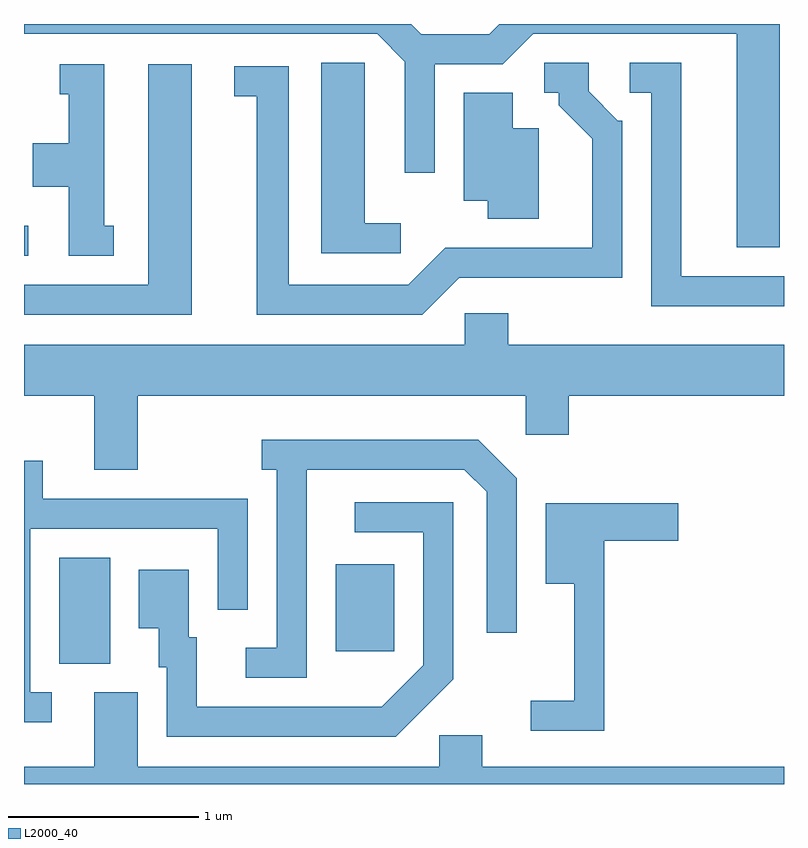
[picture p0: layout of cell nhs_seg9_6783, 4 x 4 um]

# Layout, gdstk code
import gdstk
lib = gdstk.Library(unit=1e-6, precision=1e-09)
def R(c, l, rs):  # rectangles x0, y0, x1, y1
    for r in rs: c.add(gdstk.rectangle(r[:2], r[2:], *l))
def P(c, l, *ps):  # polygons
    for p in ps: c.add(gdstk.Polygon(p, *l))
L2000_40 = (2000, 40)

nhs_seg9_6783 = lib.new_cell('nhs_seg9_6783')
R(nhs_seg9_6783, L2000_40, [(385.796,1997.066,386.064,1997.624), (387.251,1997.131,387.559,1997.589), (385.611,1999.211,385.633,1999.369)])
P(nhs_seg9_6783, L2000_40, [(389.589,2000.432),(388.112,2000.432),(388.059,2000.379),(387.702,2000.379),(387.649,2000.432),(385.611,2000.432),(385.611,2000.381),(387.469,2000.381),(387.616,2000.234),(387.616,1999.648),(387.774,1999.648),(387.774,2000.221),(388.132,2000.221),(388.292,2000.381),(389.361,2000.381),(389.361,1999.256),(389.589,1999.256)],
  [(389.611,1999.104),(389.069,1999.104),(389.069,2000.229),(388.798,2000.229),(388.798,2000.071),(388.911,2000.071),(388.911,1998.946),(389.611,1998.946)],
  [(387.593,1999.384),(387.404,1999.384),(387.404,2000.229),(387.176,2000.229),(387.176,1999.226),(387.593,1999.226)],
  [(387.902,1999.096),(388.759,1999.096),(388.759,1999.924),(388.737,1999.924),(388.584,2000.077),(388.584,2000.229),(388.348,2000.229),(388.348,2000.071),(388.426,2000.071),(388.426,2000.004),(388.601,1999.829),(388.601,1999.254),(387.829,1999.254),(387.634,1999.059),(387.004,1999.059),(387.004,2000.209),(386.718,2000.209),(386.718,2000.051),(386.836,2000.051),(386.836,1998.901),(387.707,1998.901)],
  [(386.494,2000.219),(386.266,2000.219),(386.266,1999.059),(385.611,1999.059),(385.611,1998.901),(386.494,1998.901)],
  [(386.083,1999.369),(386.034,1999.369),(386.034,2000.219),(385.798,2000.219),(385.798,2000.061),(385.846,2000.061),(385.846,1999.804),(385.656,1999.804),(385.656,1999.576),(385.846,1999.576),(385.846,1999.211),(386.083,1999.211)],
  [(388.319,1999.884),(388.184,1999.884),(388.184,2000.069),(387.926,2000.069),(387.926,1999.501),(388.051,1999.501),(388.051,1999.406),(388.319,1999.406)],
  [(386.209,1998.476),(388.251,1998.476),(388.251,1998.271),(388.479,1998.271),(388.479,1998.476),(389.611,1998.476),(389.611,1998.744),(388.159,1998.744),(388.159,1998.909),(387.931,1998.909),(387.931,1998.744),(385.611,1998.744),(385.611,1998.476),(385.981,1998.476),(385.981,1998.086),(386.209,1998.086)],
  [(387.099,1998.086),(387.929,1998.086),(388.046,1997.969),(388.046,1997.228),(388.204,1997.228),(388.204,1998.042),(388.002,1998.244),(386.863,1998.244),(386.863,1998.086),(386.941,1998.086),(386.941,1997.149),(386.778,1997.149),(386.778,1996.991),(387.099,1996.991)],
  [(385.758,1996.914),(385.644,1996.914),(385.644,1997.776),(386.631,1997.776),(386.631,1997.348),(386.789,1997.348),(386.789,1997.934),(385.709,1997.934),(385.709,1998.134),(385.611,1998.134),(385.611,1996.756),(385.758,1996.756)],
  [(387.869,1996.984),(387.869,1997.914),(387.353,1997.914),(387.353,1997.756),(387.711,1997.756),(387.711,1997.057),(387.494,1996.839),(386.519,1996.839),(386.519,1997.204),(386.479,1997.204),(386.479,1997.559),(386.216,1997.559),(386.216,1997.251),(386.321,1997.251),(386.321,1997.046),(386.361,1997.046),(386.361,1996.681),(387.567,1996.681)],
  [(388.664,1997.711),(389.054,1997.711),(389.054,1997.909),(388.356,1997.909),(388.356,1997.486),(388.506,1997.486),(388.506,1996.869),(388.278,1996.869),(388.278,1996.711),(388.664,1996.711)],
  [(389.611,1996.524),(388.024,1996.524),(388.024,1996.689),(387.796,1996.689),(387.796,1996.524),(386.209,1996.524),(386.209,1996.914),(385.981,1996.914),(385.981,1996.524),(385.611,1996.524),(385.611,1996.432),(389.611,1996.432)])

lib.write_gds('nhs_seg9_6783.gds')
